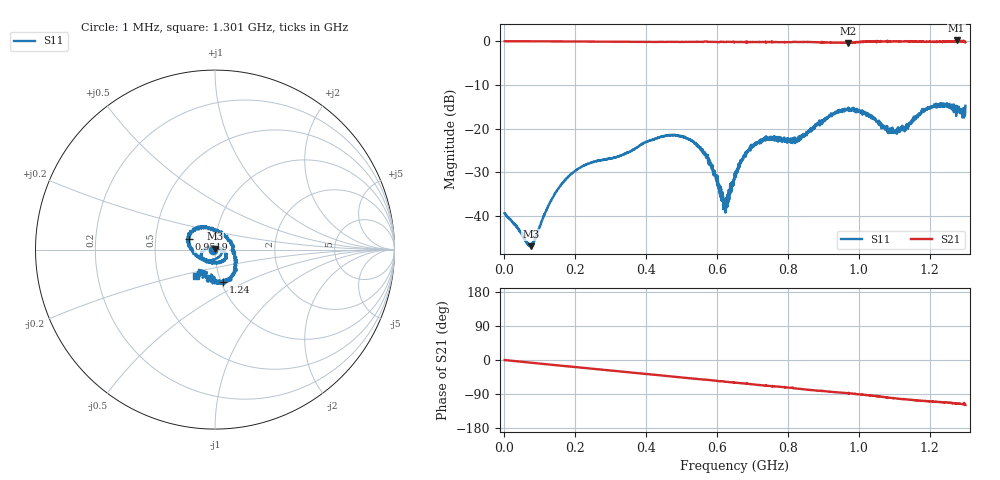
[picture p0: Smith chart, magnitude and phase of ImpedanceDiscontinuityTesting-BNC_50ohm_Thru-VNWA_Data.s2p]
! ListType=Lin
# MHZ S DB R 50
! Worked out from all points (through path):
!   2600 points, 1 MHz to 1.301 GHz, reference 50 ohm
!   highest |S21| = 0.21 dB at 1.276 GHz (marker M1); lowest = -0.4 dB at 970.9 MHz (marker M2)
!   group delay of S21, straight-line fit = 251 ps
!   lowest |S11| = -46.9 dB at 75.03 MHz (marker M3), VSWR 1.01, Z = 50 + j0.449 ohm
!   |S11| at or under -10 dB: start of sweep to end of sweep
!   S12 and S22 are empty: the file has one direction only
!   S11 on the Smith chart (normalised r, x): 1 MHz: 0.98, +0.00; 951.9 MHz: 0.74, +0.09; 1.24 GHz: 1.02, -0.38; 1.301 GHz: 0.77, -0.23
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1  -39.41 177.9  0.03 -0.1  -3000.00 -90.0  -3000.00 -90.0
75.02847  -46.93 94.0  0.01 -7.1  -3000.00 -90.0  -3000.00 -90.0
147.5564  -34.29 13.8  -0.01 -13.9  -3000.00 -90.0  -3000.00 -90.0
218.0835  -28.76 -11.6  -0.04 -20.4  -3000.00 -90.0  -3000.00 -90.0
434.6668  -22.06 -138.4  -0.13 -40.0  -3000.00 -90.0  -3000.00 -90.0
486.1866  -21.51 -156.0  -0.10 -44.8  -3000.00 -90.0  -3000.00 -90.0
546.7099  -24.03 -176.9  -0.11 -50.2  -3000.00 -90.0  -3000.00 -90.0
582.7237  -28.06 167.5  -0.13 -53.3  -3000.00 -90.0  -3000.00 -90.0
623.2393  -36.86 77.4  -0.12 -57.3  -3000.00 -90.0  -3000.00 -90.0
651.2501  -30.30 6.9  -0.14 -59.8  -3000.00 -90.0  -3000.00 -90.0
681.2616  -25.97 -7.0  -0.15 -62.4  -3000.00 -90.0  -3000.00 -90.0
713.274  -23.24 -26.9  -0.15 -65.4  -3000.00 -90.0  -3000.00 -90.0
826.8176  -22.60 -112.3  -0.14 -75.5  -3000.00 -90.0  -3000.00 -90.0
867.8334  -20.08 -154.4  -0.18 -79.3  -3000.00 -90.0  -3000.00 -90.0
951.8657  -16.14 157.6  -0.31 -86.2  -3000.00 -90.0  -3000.00 -90.0
970.873  -15.17 149.1  -0.39 -86.4  -3000.00 -90.0  -3000.00 -90.0
1084.417  -21.03 64.6  -0.02 -99.1  -3000.00 -90.0  -3000.00 -90.0
1133.436  -19.71 -5.2  0.01 -103.7  -3000.00 -90.0  -3000.00 -90.0
1158.945  -17.38 -28.3  -0.03 -106.2  -3000.00 -90.0  -3000.00 -90.0
1240.477  -14.60 -76.2  -0.10 -111.7  -3000.00 -90.0  -3000.00 -90.0
1275.99  -14.77 -103.1  0.21 -114.2  -3000.00 -90.0  -3000.00 -90.0
1301  -14.77 -126.4  -0.21 -118.4  -3000.00 -90.0  -3000.00 -90.0
